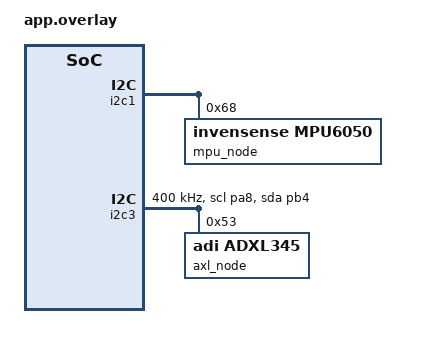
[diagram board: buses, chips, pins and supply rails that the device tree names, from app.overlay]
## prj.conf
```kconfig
CONFIG_PRINTK=y
CONFIG_HEAP_MEM_POOL_SIZE=1024
CONFIG_ASSERT=y
CONFIG_GPIO=y
CONFIG_I2C=y
CONFIG_SENSOR=y
CONFIG_ADXL345=y
CONFIG_CBPRINTF_FP_SUPPORT=y
CONFIG_MPU6050=y
```

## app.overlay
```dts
/ {
	aliases {
		adxl = &axl_node;
		mpu = &mpu_node;
	};
};

&i2c1 {
	mpu_node: mpu6050@68 {
		compatible = "invensense,mpu6050";
		reg = <0x68>;
		status = "okay";
	};
};

&i2c3 {
	pinctrl-0 = <&i2c3_scl_pa8 &i2c3_sda_pb4>;
	pinctrl-names = "default";
	status = "okay";
	clock-frequency = <I2C_BITRATE_FAST>;

	axl_node: axl345@53 {
		compatible = "adi,adxl345";
		reg = <0x53>;
		status = "okay";
	};
};
```

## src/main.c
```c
#include <zephyr/kernel.h>
#include <zephyr/device.h>
#include <zephyr/sys/printk.h>
#include <zephyr/drivers/sensor.h>

#define STACKSIZE 2048
#define PRIORITY 7

K_SEM_DEFINE(a_sem, 1, 1);
K_SEM_DEFINE(b_sem, 0, 1);

static const struct device *const adxl = DEVICE_DT_GET(DT_ALIAS(adxl));
static const struct device *const mpu = DEVICE_DT_GET(DT_ALIAS(mpu));

static const enum sensor_channel channels[] = {
	SENSOR_CHAN_ACCEL_X,
	SENSOR_CHAN_ACCEL_Y,
	SENSOR_CHAN_ACCEL_Z,
};

static int print_accels(const struct device *dev)
{
	int ret;
	struct sensor_value accel[3];

	ret = sensor_sample_fetch(dev);
	if (ret < 0) {
		printk("%s: sensor_sample_fetch() failed: %d\n", dev->name, ret);
		return ret;
	}

	for (size_t i = 0; i < ARRAY_SIZE(channels); i++) {
		ret = sensor_channel_get(dev, channels[i], &accel[i]);
		if (ret < 0) {
			printk("%s: sensor_channel_get(%c) failed: %d\n",
			       dev->name, 'X' + i, ret);
			return ret;
		}
	}

	printk("%16s [m/s^2]:    (%12.6f, %12.6f, %12.6f)\n", dev->name,
	       sensor_value_to_double(&accel[0]),
	       sensor_value_to_double(&accel[1]),
	       sensor_value_to_double(&accel[2]));

	return 0;
}

void adxl_sensor(void)
{
	while (1) {
		k_sem_take(&a_sem, K_FOREVER);
		printk("ADXL STARTING\n");

		for (int i = 1; i <= 5; i++) {
			print_accels(adxl);
			k_msleep(1000);
		}

		printk("ADXL COMPLETED\n");
		k_sem_give(&b_sem);
	}
}

void mpu_sensor(void)
{
	while (1) {
		k_sem_take(&b_sem, K_FOREVER);
		printk("MPU STARTING\n");

		for (int a = 1; a <= 5; a++) {
			print_accels(mpu);
			k_msleep(1000);
		}

		printk("MPU COMPLETED\n");
		k_sem_give(&a_sem);
	}
}

K_THREAD_DEFINE(adxl_tid, STACKSIZE, adxl_sensor, NULL, NULL, NULL, PRIORITY, 0, 0);
K_THREAD_DEFINE(mpu_tid, STACKSIZE, mpu_sensor, NULL, NULL, NULL, PRIORITY, 0, 0);
```
